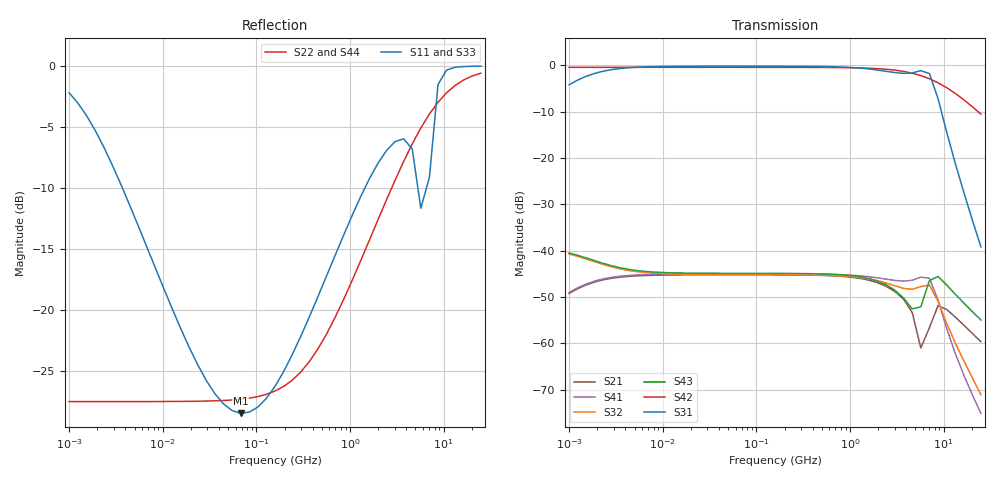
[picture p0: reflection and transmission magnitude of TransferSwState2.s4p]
# MHz S MA R 50
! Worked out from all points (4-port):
!   49 points, 1 MHz to 25 GHz, reference 50 ohm
!   strongest paths, dB at 1 MHz, 12.57 MHz, 158.1 MHz, 1.988 GHz, 25 GHz:
!     S31: -4.2, -0.3, -0.2, -1.1, -39.2
!     S42: -0.5, -0.5, -0.5, -0.8, -10.6
!     S43: -40.5, -44.8, -44.9, -46.6, -54.9
!     S32: -40.7, -45.0, -45.1, -46.5, -71.0
!     S41: -49.0, -45.0, -45.0, -45.9, -75.1
!     S21: -49.2, -45.2, -45.2, -46.9, -59.6
!   lowest |S11| = -28.5 dB at 67.99 MHz (marker M1), VSWR 1.08, Z = 51.3 - j3.58 ohm
!   |S11| at or under -10 dB: 3.721 MHz to 1.45 GHz (1.446 GHz wide, 199 % of centre); 5.338 GHz to 6.587 GHz (1.249 GHz wide, 20.9 % of centre)
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1  0.7765 -38.4  0.003465 50.9  0.6143 50.9  0.003546 50.9
   0.003465 50.9  0.04218 0.1  0.009212 -16.8  0.9468 -0.0
   0.6143 50.9  0.009212 -16.8  0.7592 -38.5  0.009448 -16.8
   0.003546 50.9  0.9468 -0.0  0.009448 -16.8  0.0419 0.1
67.99469  0.03775 -67.4  0.005493 -0.3  0.974 -0.4  0.005623 -0.2
          0.005493 -0.3  0.04312 10.4  0.005543 -2.3  0.9466 -0.5
          0.974 -0.4  0.005543 -2.3  0.03678 -69.5  0.005694 -2.0
          0.005623 -0.2  0.9466 -0.5  0.005694 -2.0  0.04283 10.4
1610.02  0.3448 -120.2  0.004795 -30.8  0.9077 -33.2  0.00523 -26.2
         0.004795 -30.8  0.1932 65.4  0.00496 -28.0  0.9252 -10.9
         0.9077 -33.2  0.00496 -28.0  0.3453 -120.5  0.00498 -21.9
         0.00523 -26.2  0.9252 -10.9  0.00498 -21.9  0.1921 65.4
4623.278  0.4566 -166.4  0.002152 -72.7  0.8248 -83.7  0.004797 -61.3
          0.002152 -72.7  0.4795 55.5  0.003835 -55.2  0.8187 -28.8
          0.8248 -83.7  0.003835 -55.2  0.458 -166.6  0.002354 -25.3
          0.004797 -61.3  0.8187 -28.8  0.002354 -25.3  0.4766 55.5
7050.136  0.3498 -82.2  0.001478 12.5  0.8103 -150.4  0.005049 -114.6
          0.001478 12.5  0.6355 46.0  0.004258 -93.3  0.7132 -39.7
          0.8103 -150.4  0.004258 -93.3  0.3477 -82.3  0.004754 1.7
          0.005049 -114.6  0.7132 -39.7  0.004754 1.7  0.6317 46.0
8706.052  0.839 -114.0  0.002551 -21.4  0.437 163.6  0.002952 -152.5
          0.002551 -21.4  0.7099 40.7  0.002858 -125.5  0.6456 -45.6
          0.437 163.6  0.002858 -125.5  0.8376 -114.0  0.005274 -29.5
          0.002952 -152.5  0.6456 -45.6  0.005274 -29.5  0.7057 40.7
25000  0.9982 -164.8  0.001045 -73.0  0.01101 107.2  0.0001766 -177.5
       0.001045 -73.0  0.9346 17.4  0.0002806 -161.3  0.2964 -70.3
       0.01101 107.2  0.0002806 -161.3  0.9981 -164.9  0.001791 -73.4
       0.0001766 -177.5  0.2964 -70.3  0.001791 -73.4  0.929 17.4
